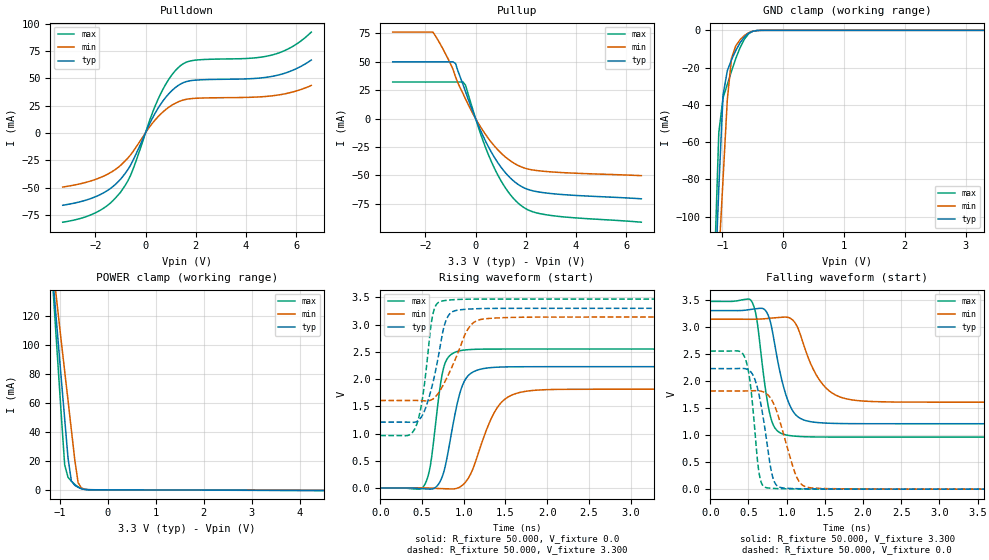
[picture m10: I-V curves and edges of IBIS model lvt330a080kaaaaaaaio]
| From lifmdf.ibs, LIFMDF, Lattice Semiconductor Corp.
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|   Model lvt330a080kaaaaaaaio
[Model] lvt330a080kaaaaaaaio
Model_type I/O
Polarity   Non-Inverting
Enable   Active-Low
Vinl =  0.800V
Vinh =  2.000V
Vmeas =  1.650V
Cref =  0.0F
Rref =  1.000M
Vref =  0.0V
C_comp   5.000pF   4.000pF   5.500pF
[Temperature Range]   25.000   0.125k   -40.000
[Voltage Range]   3.300V   3.140V   3.470V
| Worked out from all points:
|   slope of the pulldown table from 0 to 0.495 V, typ, clamps not added: 22.2 ohm
|   slope of the pullup table from 0 to 0.495 V, typ, clamps not added: 20.5 ohm
|   GND clamp passes 1 mA (typ) near -0.54 V on its own axis
|   POWER clamp passes 1 mA (typ) near -0.57 V on its own axis
|   rising waveform, R_fixture 50.000, V_fixture 0.0: 20-80 % time 177ps typ, 279ps min, 126ps max; typ from 0 V to 2.23 V
|   rising waveform, R_fixture 50.000, V_fixture 3.300: 20-80 % time 174ps typ, 258ps min, 121ps max; typ from 1.21 V to 3.3 V
|   falling waveform, R_fixture 50.000, V_fixture 3.300: 20-80 % time 201ps typ, 302ps min, 143ps max; typ from 3.3 V to 1.21 V
|   falling waveform, R_fixture 50.000, V_fixture 0.0: 20-80 % time 152ps typ, 227ps min, 104ps max; typ from 2.23 V to 0 V
[Pulldown]
|Voltage   I(typ)   I(min)   I(max)
-3.3V     -66.08mA   -49.42mA   -81.58mA
-1.9V     -57.33mA   -41.63mA   -71.87mA
-1V       -42.33mA   -29.67mA   -54.26mA
-600mV    -29.46mA   -20.02mA   -38.85mA
200mV     10.31mA    6.813mA    13.99mA
600mV     26.34mA    17.33mA    35.92mA
1V        37.74mA    24.77mA    51.7mA
1.4V      44.93mA    29.45mA    61.81mA
2V        48.42mA    31.8mA     66.72mA
5V        51.68mA    33.93mA    71.19mA
5.8V      56.85mA    37.2mA     78.45mA
6.6V      66.79mA    43.54mA    92.35mA
[Pullup]
|Voltage   I(typ)   I(min)   I(max)
-3.3V     49.76mA    75.94mA    32.09mA
-1.7V     49.76mA    75.94mA    32.09mA
-1.1V     49.76mA    52.63mA    32.09mA
-800mV    48.46mA    36.68mA    32.09mA
-500mV    29.82mA    21.85mA    32.09mA
-400mV    23.59mA    17.17mA    29.27mA
100mV     -5.404mA   -3.789mA   -6.933mA
600mV     -28.43mA   -20.06mA   -36.39mA
1.1V      -45.22mA   -32.08mA   -57.88mA
1.6V      -56.35mA   -40.11mA   -72.27mA
2.7V      -65.07mA   -46.28mA   -84.1mA
6.6V      -70.47mA   -50.13mA   -91.02mA
[GND_clamp]
|Voltage   I(typ)   I(min)   I(max)
-3.3V     -1.953A    -1.52A     -2.429A
-1.13V    -142.2mA   -164.9mA   -126mA
-1.06V    -85.07mA   -122.3mA   -55.02mA
-990mV    -34.78mA   -79.96mA   -36.14mA
-920mV    -21.73mA   -37.42mA   -29.09mA
-850mV    -15.72mA   -14.87mA   -21.87mA
-780mV    -10.79mA   -8.332mA   -15.12mA
-640mV    -3.576mA   -2.823mA   -4.831mA
-570mV    -1.52mA    -1.338mA   -1.864mA
-500mV    -469.6uA   -487.6uA   -474.9uA
-360mV    -13.02uA   -24.08uA   -8.843uA
3.3V      0A         0A         0A
[POWER_clamp]
|Voltage   I(typ)   I(min)   I(max)
-3.3V     1.153A     923.9mA    1.395A
-1.18V    159.7mA    164.7mA    158mA
-1.11V    131.7mA    143.8mA    122.2mA
-1.04V    103.9mA    123mA      86.6mA
-900mV    49.07mA    81.98mA    17.21mA
-830mV    21.86mA    61.79mA    8.649mA
-760mV    6.031mA    41.28mA    5.945mA
-690mV    3.144mA    20.81mA    3.739mA
-620mV    1.709mA    4.915mA    2.004mA
-550mV    754.4uA    1.278mA    815.8uA
-270mV    27.09uA    24.73uA    33.18uA
6.6V      -653.7uA   -545.5uA   -806.5uA
[Ramp]
| variable   typ   min   max
dV/dt_r   1.337/0.179n   1.089/0.284n   1.531/0.135n
dV/dt_f   1.255/0.203n   0.920/0.303n   1.505/0.145n
R_load = 50.000
[Rising Waveform]
R_fixture= 50.000
V_fixture= 0.0
V_fixture_min= 0.0
V_fixture_max= 0.0
|time   V(typ)   V(min)   V(max)
0s        0V         0V         0V
533ps     -16.5mV    682.2uV    61.67mV
602ps     -21.26mV   -3.459mV   426.3mV
711ps     101.2mV    -11.37mV   1.79V
760ps     287.4mV    -13.95mV   2.21V
981ps     1.867V     45.16mV    2.528V
1.111ns   2.129V     353.8mV    2.545V
1.399ns   2.218V     1.468V     2.551V
1.748ns   2.227V     1.777V     2.552V
10ns      2.228V     1.815V     2.552V
[Rising Waveform]
R_fixture= 50.000
V_fixture= 3.300
V_fixture_min= 3.140
V_fixture_max= 3.470
|time   V(typ)   V(min)   V(max)
0s        1.209V     1.607V     962.5mV
414ps     1.209V     1.607V     1.086V
503ps     1.33V      1.604V     1.62V
601ps     1.755V     1.61V      2.909V
634ps     1.953V     1.637V     3.213V
761ps     2.943V     1.911V     3.44V
845ps     3.217V     2.175V     3.454V
1.059ns   3.286V     2.937V     3.468V
1.305ns   3.298V     3.115V     3.47V
10ns      3.3V       3.14V      3.47V
[Falling Waveform]
R_fixture= 50.000
V_fixture= 3.300
V_fixture_min= 3.140
V_fixture_max= 3.470
|time   V(typ)   V(min)   V(max)
0s        3.3V       3.14V      3.47V
543ps     3.324V     3.139V     3.468V
610ps     3.336V     3.141V     3.132V
717ps     3.31V      3.15V      1.903V
792ps     3.063V     3.16V      1.321V
1.013ns   1.648V     3.176V     996.5mV
1.162ns   1.322V     2.925V     974.3mV
1.47ns    1.224V     1.94V      963.6mV
1.857ns   1.211V     1.649V     962.5mV
10ns      1.209V     1.607V     962.5mV
[Falling Waveform]
R_fixture= 50.000
V_fixture= 0.0
V_fixture_min= 0.0
V_fixture_max= 0.0
|time   V(typ)   V(min)   V(max)
0s        2.228V     1.815V     2.552V
450ps     2.228V     1.815V     2.44V
520ps     2.183V     1.817V     1.993V
642ps     1.718V     1.816V     271.7mV
742ps     857.8mV    1.757V     25.92mV
807ps     280.9mV    1.641V     15.64mV
868ps     71.04mV    1.445V     11.1mV
1.118ns   9.831mV    266.6mV    4.764mV
1.291ns   5.956mV    29.86mV    1.78mV
10ns      0V         0V         0V
